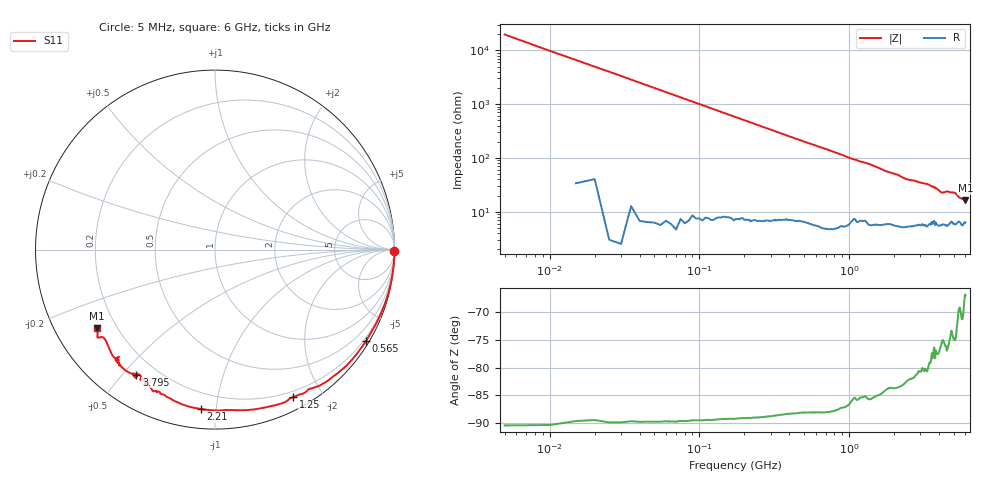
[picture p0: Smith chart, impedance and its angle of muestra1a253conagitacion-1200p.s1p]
# Hz S RI R 50.000000
! Metas.Vna.Tools, 3.0.9519.15400
! Metas.Vna.Data, 3.0.9519.15360
! Created: UTC 2026.10.24 16:02:33
! FREQ  re:S1,1  im:S1,1
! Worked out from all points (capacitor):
!   1200 points, 5 MHz to 6 GHz, reference 50 ohm
!   read as one part to ground: C = 1.59 pF near 35 MHz
!   lowest |Z| = 16.2 ohm at 6 GHz (marker M1)
!   S11 on the Smith chart (normalised r, x): 5 MHz: open; 565 MHz: 0.12, -3.60; 1.25 GHz: 0.13, -1.65; 2.21 GHz: 0.10, -0.91; 3.795 GHz: 0.13, -0.55; 6 GHz: 0.13, -0.30
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5000000  1 -0.00507
2.6e8  0.9629 -0.253
5.65e8  0.8425 -0.5073
7.55e8  0.7458 -0.6322
9.9e8  0.5892 -0.7544
1.25e9  0.4354 -0.8226
1.505e9  0.2944 -0.8759
1.77e9  0.1134 -0.8951
2.07e9  -0.00542 -0.8957
2.21e9  -0.0802 -0.888
2.255e9  -0.1068 -0.8838
2.455e9  -0.1961 -0.8561
2.745e9  -0.2385 -0.8362
3.005e9  -0.3043 -0.8034
3.335e9  -0.3474 -0.7869
3.58e9  -0.4035 -0.7181
3.68e9  -0.4121 -0.7083
3.755e9  -0.4494 -0.7085
3.795e9  -0.4384 -0.697
4.15e9  -0.5534 -0.6166
4.26e9  -0.5507 -0.61
4.505e9  -0.5335 -0.6446
4.82e9  -0.5366 -0.5975
5.12e9  -0.5578 -0.6037
5.255e9  -0.5869 -0.5562
5.46e9  -0.6183 -0.4941
5.75e9  -0.6551 -0.4867
6e9  -0.6587 -0.4388
